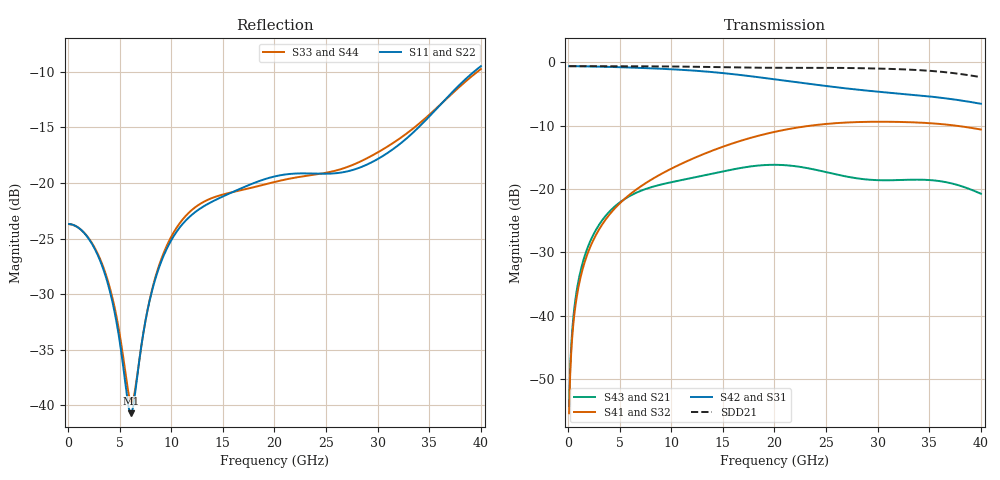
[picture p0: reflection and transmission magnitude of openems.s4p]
! E_s8_L1L8_p1000_round_g2: pair L1→L8, pitch 1 mm, two round antipads, 2 GND vias
! stackup: 8-layer 1.6 mm FR-4 (generic)
! ports: 1 P near, 2 N near, 3 P far, 4 N far
! openEMS 0.37.0, staircase, fine mesh (dfine 0.0175 mm), 1681680 cells
# Hz S RI R 50
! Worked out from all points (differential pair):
!   400 points, 100 MHz to 40 GHz, reference 50 ohm
!   strongest paths, dB at 100 MHz, 10.1 GHz, 20.1 GHz, 30.1 GHz, 40 GHz:
!     S42: -0.6, -1.1, -2.7, -4.6, -6.5
!     S31: -0.6, -1.1, -2.7, -4.6, -6.5
!     S41: -55.4, -16.7, -10.9, -9.4, -10.6
!     S32: -55.4, -16.7, -10.9, -9.4, -10.6
!     S43: -54.3, -18.9, -16.2, -18.6, -20.7
!     S21: -54.3, -18.9, -16.2, -18.6, -20.8
!   taken as a pair (ports 2,1 in; 4,3 out), SDD21 dB: -0.6, -0.6, -0.8, -1.0, -2.3
!   lowest |S11| = -40.7 dB at 6.1 GHz (marker M1), VSWR 1.02, Z = 49.3 + j0.563 ohm
!   |S11| at or under -10 dB: start of sweep to 39.33 GHz
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1e8  -0.0653 0.00223  0.00043 0.00189  0.9336 -0.0363  7.68e-06 -0.00169
     0.00043 0.00189  -0.0653 0.00223  7.68e-06 -0.00169  0.9336 -0.0363
     0.9336 -0.0363  3.95e-06 -0.00169  -0.0652 0.00226  0.000426 0.00189
     3.95e-06 -0.00169  0.9336 -0.0363  0.000426 0.00189  -0.0652 0.00226
6.1e9  -0.00721 0.00572  0.0508 -0.0733  -0.6448 -0.6435  -0.0517 0.0763
       0.0508 -0.0733  -0.00721 0.00572  -0.0517 0.0763  -0.6448 -0.6435
       -0.6448 -0.6435  -0.0517 0.0763  -0.00707 0.00756  0.0511 -0.0731
       -0.0517 0.0763  -0.6448 -0.6435  0.0511 -0.0731  -0.00707 0.00756
1.2e10  0.000586 0.0719  -0.1194 0.0259  -0.0672 0.8612  0.1695 -0.0331
        -0.1194 0.0259  0.000586 0.0719  0.1695 -0.0331  -0.0672 0.8612
        -0.0672 0.8613  0.1695 -0.0331  0.000343 0.0756  -0.1196 0.025
        0.1695 -0.0331  -0.0672 0.8613  -0.1196 0.025  0.000343 0.0756
1.99e10  -0.0173 -0.1052  0.1526 -0.0282  0.135 -0.7262  -0.2679 0.0875
         0.1526 -0.0282  -0.0173 -0.1052  -0.2679 0.0875  0.135 -0.7262
         0.135 -0.7254  -0.2677 0.0874  -0.0155 -0.0995  0.1532 -0.0264
         -0.2677 0.0874  0.135 -0.7254  0.1532 -0.0264  -0.0155 -0.0995
2.83e10  -0.0525 0.105  -0.1094 0.0506  -0.1113 0.5963  0.2486 -0.2296
         -0.1094 0.0506  -0.0525 0.105  0.2486 -0.2296  -0.1113 0.5963
         -0.1116 0.5962  0.2488 -0.2295  -0.0532 0.1127  -0.1103 0.0487
         0.2488 -0.2295  -0.1116 0.5962  -0.1103 0.0487  -0.0532 0.1127
3.32e10  0.1294 0.1018  0.1012 0.0614  0.5549 -0.0456  -0.3196 -0.1069
         0.1012 0.0614  0.1294 0.1018  -0.3196 -0.1069  0.5549 -0.0456
         0.5547 -0.0463  -0.3197 -0.1065  0.1285 0.1147  0.0999 0.0636
         -0.3197 -0.1065  0.5547 -0.0463  0.0999 0.0636  0.1285 0.1147
4e10  0.0211 -0.3343  -0.0795 -0.0449  -0.4307 -0.199  0.2492 0.1615
      -0.0795 -0.0449  0.0211 -0.3343  0.2492 0.1615  -0.4307 -0.199
      -0.4282 -0.1978  0.2478 0.1605  0.0314 -0.3236  -0.0788 -0.0472
      0.2478 0.1605  -0.4282 -0.1978  -0.0788 -0.0472  0.0314 -0.3236
